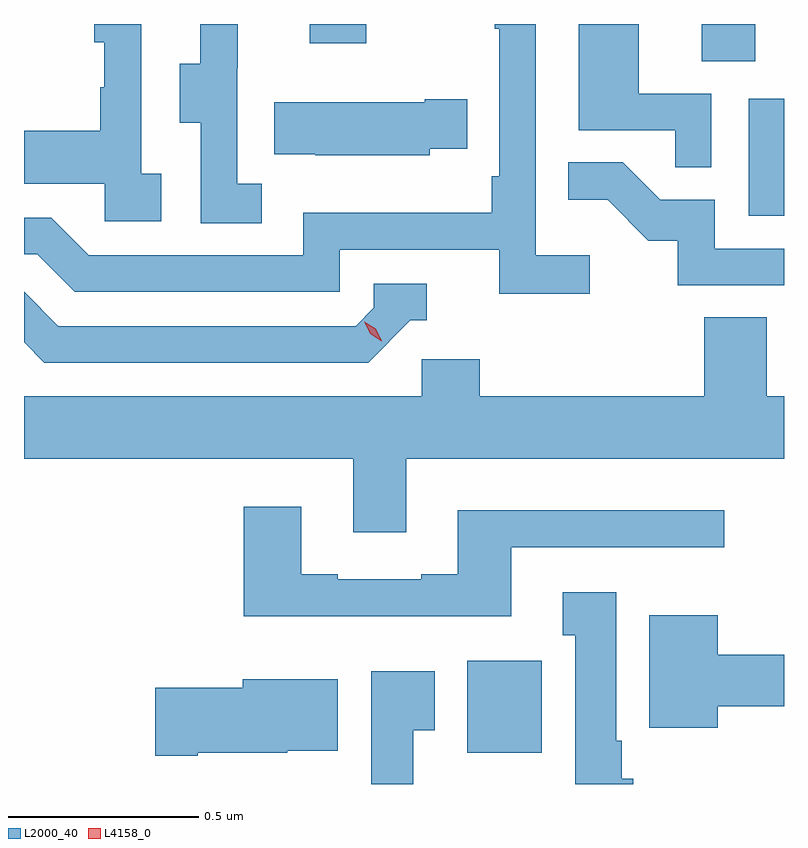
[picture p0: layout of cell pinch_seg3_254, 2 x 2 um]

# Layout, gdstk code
import gdstk
lib = gdstk.Library(unit=1e-6, precision=1e-09)
def R(c, l, rs):  # rectangles x0, y0, x1, y1
    for r in rs: c.add(gdstk.rectangle(r[:2], r[2:], *l))
def P(c, l, *ps):  # polygons
    for p in ps: c.add(gdstk.Polygon(p, *l))
L2000_40 = (2000, 40)
L4158_0 = (4158, 0)

pinch_seg3_254 = lib.new_cell('pinch_seg3_254')
R(pinch_seg3_254, L2000_40, [(940.511,726.782,940.708,727.024), (941.252,728.196,941.345,728.503), (941.129,728.602,941.269,728.7), (940.097,728.649,940.245,728.7)])
P(pinch_seg3_254, L2000_40, [(941.154,728.517),(940.963,728.517),(940.963,728.7),(940.805,728.7),(940.805,728.421),(941.059,728.421),(941.059,728.323),(941.154,728.323)],
  [(939.97,728.279),(939.906,728.279),(939.906,728.583),(939.908,728.583),(939.908,728.7),(939.809,728.7),(939.809,728.595),(939.755,728.595),(939.755,728.44),(939.81,728.44),(939.81,728.176),(939.97,728.176)],
  [(940.834,728.092),(940.692,728.092),(940.692,728.7),(940.584,728.7),(940.584,728.687),(940.596,728.687),(940.596,728.299),(940.576,728.299),(940.576,728.203),(940.08,728.203),(940.08,728.091),(939.516,728.091),(939.417,728.19),(939.345,728.19),(939.345,728.094),(939.38,728.094),(939.479,727.995),(940.176,727.995),(940.176,728.106),(940.595,728.106),(940.595,727.99),(940.834,727.99)],
  [(939.706,728.306),(939.654,728.306),(939.654,728.7),(939.53,728.7),(939.53,728.652),(939.556,728.652),(939.556,728.534),(939.546,728.534),(939.546,728.419),(939.345,728.419),(939.345,728.279),(939.558,728.279),(939.558,728.181),(939.706,728.181)],
  [(940.413,728.372),(940.511,728.372),(940.511,728.502),(940.4,728.502),(940.4,728.494),(940.003,728.494),(940.003,728.357),(940.111,728.357),(940.111,728.354),(940.413,728.354)],
  [(941.345,728.109),(941.163,728.109),(941.163,728.238),(941.019,728.238),(940.921,728.336),(940.777,728.336),(940.777,728.237),(940.881,728.237),(940.988,728.13),(941.065,728.13),(941.065,728.013),(941.345,728.013)],
  [(940.362,727.92),(940.405,727.92),(940.405,728.016),(940.266,728.016),(940.266,727.953),(940.218,727.905),(939.435,727.905),(939.345,727.995),(939.345,727.862),(939.398,727.809),(940.251,727.809)],
  [(940.351,727.556),(941.345,727.556),(941.345,727.72),(941.3,727.72),(941.3,727.928),(941.135,727.928),(941.135,727.72),(940.544,727.72),(940.544,727.818),(940.392,727.818),(940.392,727.72),(939.345,727.72),(939.345,727.556),(940.211,727.556),(940.211,727.362),(940.351,727.362)],
  [(940.627,727.323),(941.188,727.323),(941.188,727.42),(940.487,727.42),(940.487,727.252),(940.391,727.252),(940.391,727.239),(940.171,727.239),(940.171,727.252),(940.075,727.252),(940.075,727.429),(939.923,727.429),(939.923,727.142),(940.627,727.142)],
  [(940.948,726.714),(940.918,726.714),(940.918,726.814),(940.903,726.814),(940.903,727.204),(940.763,727.204),(940.763,727.091),(940.796,727.091),(940.796,726.7),(940.948,726.7)],
  [(941.17,726.904),(941.345,726.904),(941.345,727.04),(941.17,727.04),(941.17,727.144),(940.991,727.144),(940.991,726.848),(941.17,726.848)],
  [(940.369,726.841),(940.426,726.841),(940.426,726.997),(940.259,726.997),(940.259,726.7),(940.369,726.7)],
  [(939.802,726.782),(940.038,726.782),(940.038,726.788),(940.171,726.788),(940.171,726.976),(939.92,726.976),(939.92,726.953),(939.69,726.953),(939.69,726.775),(939.802,726.775)])
P(pinch_seg3_254, L4158_0, [(940.287,727.865),(940.256,727.885),(940.24,727.917),(940.24,727.917),(940.241,727.917),(940.271,727.898),(940.287,727.865),(940.287,727.865)])

lib.write_gds('pinch_seg3_254.gds')
